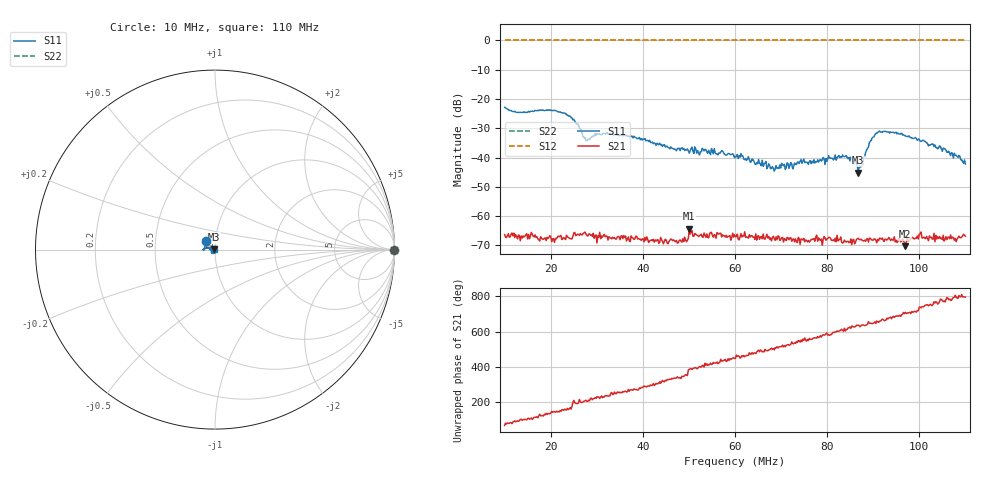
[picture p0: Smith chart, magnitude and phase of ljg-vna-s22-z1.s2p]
! Anritsu VNA Master:  Model: MS2034B/10/19/501
! SN:  1337062
! /bd0/ovro-jan-2016/ljg-vna-s22-z1.s2p
! Existing Calibration Information:
! TYPE:  Current Settings,  Active Cal Settings
! TIME:  01/08/2016 05:52:24 PM,  01/08/2016 05:30:02 PM
! INTERNAL TEMP:  45.0 C,  46.5 C
! # POINTS:  500,  500
! START FREQ:  10.000 MHz,  10.000 MHz
! STOP FREQ:  110.000 MHz,  110.000 MHz
! SOURCE POWER:  Low,  Low
! IFBW:  100 Hz,  100 Hz
! AVG FACTOR:  3 ,  3
! REF PLANE 1:  1.2232 m,  1.2232 m
! REF PLANE 2:  0 mm,  0 mm
! CAL TYPE:  1P2P S11,S21,  1P2P S11,S21
! CAL METHOD:  SOLT,  SOLT
! CAL LINE TYPE:  Coax,  Coax
! DUT PORT 1:  K-Conn(M),  K-Conn(M)
! DUT PORT 2:  N-Conn(M),  N-Conn(M)
! CAL STATUS:  OK: Accuracy High,  --
# GHZ S DB R 50.0
! FREQ.GHZ  S11DB  S11A  S21DB  S21A  S12DB  S12A  S22DB  S22A
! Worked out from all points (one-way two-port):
!   500 points, 10 MHz to 110 MHz, reference 50 ohm
!   highest |S21| = -64.36 dB at 50.08 MHz (marker M1); lowest = -70.3 dB at 96.97 MHz (marker M2)
!   lowest |S11| = -45.2 dB at 86.75 MHz (marker M3), VSWR 1.01, Z = 49.5 + j0.137 ohm
!   |S11| at or under -10 dB: start of sweep to end of sweep
!   |S22| runs from 0.0 to 0.0 dB; largest |S21 - S12| = 1
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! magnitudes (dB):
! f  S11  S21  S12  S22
! 10 MHz  -22.9  -66.3  0.0  0.0
! 12.81 MHz  -24.6  -67.8  0.0  0.0
! 22.83 MHz  -24.8  -67.3  0.0  0.0
! 25.43 MHz  -28.1  -66.7  0.0  0.0
! 26.83 MHz  -31.7  -66.5  0.0  0.0
! 28.04 MHz  -34.0  -66.8  0.0  0.0
! 31.84 MHz  -32.0  -67.1  0.0  0.0
! 43.47 MHz  -35.7  -69.3  0.0  0.0
! 47.88 MHz  -36.8  -68.4  0.0  0.0
! 50.08 MHz  -38.5  -64.4  0.0  0.0
! 60.1 MHz  -39.6  -67.1  0.0  0.0
! 68.12 MHz  -43.1  -67.4  0.0  0.0
! 76.73 MHz  -41.3  -68.0  0.0  0.0
! 83.75 MHz  -39.7  -68.2  0.0  0.0
! 86.75 MHz  -45.2  -67.6  0.0  0.0
! 87.56 MHz  -42.8  -68.2  0.0  0.0
! 90.16 MHz  -32.9  -67.9  0.0  0.0
! 93.37 MHz  -31.2  -67.3  0.0  0.0
! 96.97 MHz  -32.5  -70.3  0.0  0.0
! 99.98 MHz  -33.8  -66.2  0.0  0.0
! 108 MHz  -39.2  -68.8  0.0  0.0
! 110 MHz  -42.2  -66.9  0.0  0.0
